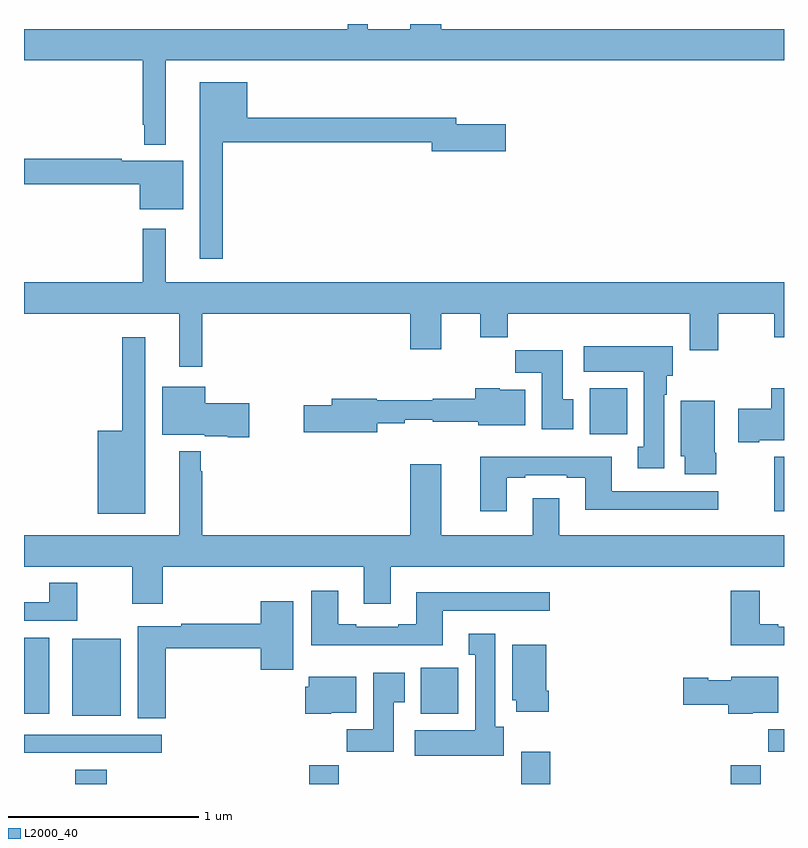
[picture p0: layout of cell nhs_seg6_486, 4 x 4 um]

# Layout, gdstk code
import gdstk
lib = gdstk.Library(unit=1e-6, precision=1e-09)
def R(c, l, rs):  # rectangles x0, y0, x1, y1
    for r in rs: c.add(gdstk.rectangle(r[:2], r[2:], *l))
def P(c, l, *ps):  # polygons
    for p in ps: c.add(gdstk.Polygon(p, *l))
L2000_40 = (2000, 40)

nhs_seg6_486 = lib.new_cell('nhs_seg6_486')
R(nhs_seg6_486, L2000_40, [(139.271,971.5,139.436,971.575), (140.501,971.5,140.657,971.6), (141.617,971.5,141.77,971.671), (142.721,971.5,142.877,971.6), (139,971.664,139.726,971.76), (142.918,971.67,143,971.788), (139.253,971.858,139.51,972.265), (139,971.87,139.132,972.271), (141.089,971.87,141.286,972.112), (142.948,972.936,143,973.222), (141.977,973.34,142.174,973.582)])
P(nhs_seg6_486, L2000_40, [(139.747,975.308),(143,975.308),(143,975.472),(141.196,975.472),(141.196,975.5),(141.032,975.5),(141.032,975.472),(140.809,975.472),(140.809,975.5),(140.705,975.5),(140.705,975.472),(139,975.472),(139,975.308),(139.626,975.308),(139.626,974.971),(139.632,974.971),(139.632,974.864),(139.747,974.864)],
  [(140.047,974.878),(141.146,974.878),(141.146,974.831),(141.535,974.831),(141.535,974.973),(141.274,974.973),(141.274,975.007),(140.176,975.007),(140.176,975.193),(139.925,975.193),(139.925,974.265),(140.047,974.265)],
  [(139.837,974.779),(139.514,974.779),(139.514,974.792),(139,974.792),(139,974.656),(139.61,974.656),(139.61,974.525),(139.837,974.525)],
  [(139.939,973.976),(141.032,973.976),(141.032,973.788),(141.196,973.788),(141.196,973.976),(141.401,973.976),(141.401,973.852),(141.545,973.852),(141.545,973.976),(142.505,973.976),(142.505,973.782),(142.653,973.782),(142.653,973.976),(142.948,973.976),(142.948,973.852),(143,973.852),(143,974.14),(139.747,974.14),(139.747,974.422),(139.626,974.422),(139.626,974.14),(139,974.14),(139,973.976),(139.817,973.976),(139.817,973.695),(139.939,973.695)],
  [(139.639,973.852),(139.518,973.852),(139.518,973.36),(139.388,973.36),(139.388,972.923),(139.639,972.923)],
  [(142.369,973.55),(142.384,973.55),(142.384,973.65),(142.414,973.65),(142.414,973.804),(141.945,973.804),(141.945,973.67),(142.262,973.67),(142.262,973.274),(142.229,973.274),(142.229,973.161),(142.369,973.161)],
  [(141.892,973.524),(141.835,973.524),(141.835,973.783),(141.586,973.783),(141.586,973.664),(141.725,973.664),(141.725,973.368),(141.892,973.368)],
  [(140.185,973.503),(139.954,973.503),(139.954,973.591),(139.727,973.591),(139.727,973.337),(139.95,973.337),(139.95,973.331),(140.072,973.331),(140.072,973.325),(140.185,973.325)],
  [(142.87,973.31),(143,973.31),(143,973.582),(142.933,973.582),(142.933,973.476),(142.758,973.476),(142.758,973.298),(142.87,973.298)],
  [(140.86,973.399),(141.003,973.399),(141.003,973.417),(141.15,973.417),(141.15,973.406),(141.39,973.406),(141.39,973.388),(141.637,973.388),(141.637,973.576),(141.504,973.576),(141.504,973.582),(141.374,973.582),(141.374,973.528),(141.15,973.528),(141.15,973.52),(140.856,973.52),(140.856,973.528),(140.621,973.528),(140.621,973.494),(140.472,973.494),(140.472,973.352),(140.86,973.352)],
  [(142.644,973.243),(142.636,973.243),(142.636,973.516),(142.457,973.516),(142.457,973.224),(142.478,973.224),(142.478,973.131),(142.644,973.131)],
  [(143,972.808),(141.817,972.808),(141.817,973.003),(141.677,973.003),(141.677,972.808),(141.196,972.808),(141.196,973.183),(141.032,973.183),(141.032,972.808),(139.939,972.808),(139.939,973.145),(139.931,973.145),(139.931,973.252),(139.817,973.252),(139.817,972.808),(139,972.808),(139,972.644),(139.57,972.644),(139.57,972.45),(139.73,972.45),(139.73,972.644),(140.789,972.644),(140.789,972.45),(140.929,972.45),(140.929,972.644),(143,972.644)],
  [(141.541,973.113),(141.637,973.113),(141.637,973.125),(141.857,973.125),(141.857,973.113),(141.953,973.113),(141.953,972.944),(142.654,972.944),(142.654,973.041),(142.093,973.041),(142.093,973.222),(141.401,973.222),(141.401,972.936),(141.541,972.936)],
  [(139.281,972.559),(139.133,972.559),(139.133,972.456),(139,972.456),(139,972.36),(139.281,972.36)],
  [(141.205,972.411),(141.766,972.411),(141.766,972.508),(141.065,972.508),(141.065,972.34),(140.969,972.34),(140.969,972.327),(140.749,972.327),(140.749,972.34),(140.653,972.34),(140.653,972.517),(140.513,972.517),(140.513,972.23),(141.205,972.23)],
  [(143,972.327),(142.969,972.327),(142.969,972.34),(142.873,972.34),(142.873,972.517),(142.721,972.517),(142.721,972.23),(143,972.23)],
  [(139.745,972.214),(140.246,972.214),(140.246,972.102),(140.416,972.102),(140.416,972.463),(140.246,972.463),(140.246,972.343),(139.828,972.343),(139.828,972.33),(139.598,972.33),(139.598,971.845),(139.745,971.845)],
  [(141.526,971.802),(141.481,971.802),(141.481,972.292),(141.341,972.292),(141.341,972.179),(141.374,972.179),(141.374,971.782),(141.057,971.782),(141.057,971.648),(141.526,971.648)],
  [(141.761,971.992),(141.748,971.992),(141.748,972.232),(141.569,972.232),(141.569,971.94),(141.59,971.94),(141.59,971.88),(141.761,971.88)],
  [(140.947,971.929),(141.004,971.929),(141.004,972.085),(140.837,972.085),(140.837,971.788),(140.698,971.788),(140.698,971.67),(140.947,971.67)],
  [(140.616,971.876),(140.749,971.876),(140.749,972.064),(140.498,972.064),(140.498,972.012),(140.48,972.012),(140.48,971.87),(140.616,971.87)],
  [(142.836,971.876),(142.969,971.876),(142.969,972.064),(142.722,972.064),(142.722,972.046),(142.602,972.046),(142.602,972.059),(142.47,972.059),(142.47,971.917),(142.706,971.917),(142.706,971.87),(142.836,971.87)])

lib.write_gds('nhs_seg6_486.gds')
